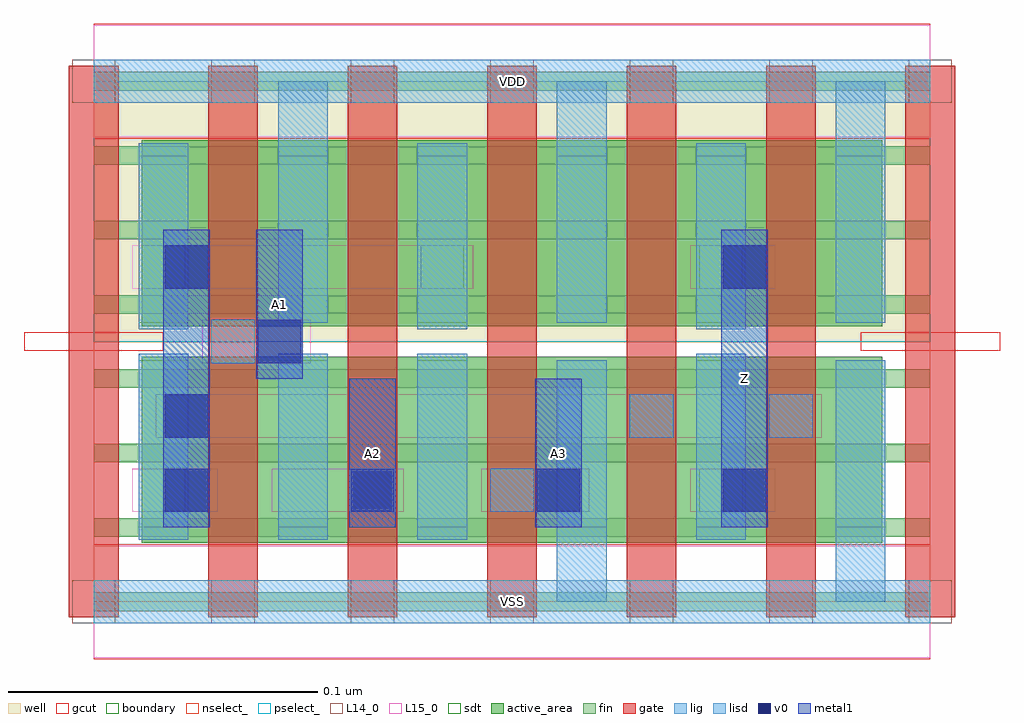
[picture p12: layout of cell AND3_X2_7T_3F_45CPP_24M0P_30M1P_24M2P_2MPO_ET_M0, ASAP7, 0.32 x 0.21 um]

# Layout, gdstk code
import gdstk
lib = gdstk.Library(unit=1e-6, precision=2.5e-10)
def R(c, l, rs):  # rectangles x0, y0, x1, y1
    for r in rs: c.add(gdstk.rectangle(r[:2], r[2:], *l))
def A(c, l, x, y, w, h, nx, ny, dx, dy):  # array of equal rectangles
    R(c, l, [(x+i*dx, y+j*dy, x+i*dx+w, y+j*dy+h) for i in range(nx) for j in range(ny)])
well = (1, 0)
fin = (2, 0)
gate = (7, 0)
gcut = (10, 0)
active_area = (11, 0)
nselect_ = (12, 0)
pselect_ = (13, 0)
L14_0 = (14, 0)
L15_0 = (15, 0)
lig = (16, 0)
lisd = (17, 0)
v0 = (18, 0)
metal1 = (19, 0)
sdt = (88, 0)
boundary = (100, 0)

and3_x2_7t_3f_45cpp_24m0 = lib.new_cell('AND3_X2_7T_3F_45CPP_24M0P_30M1P_24M2P_2MPO_ET_M0')
R(and3_x2_7t_3f_45cpp_24m0, well, [(0,0.084,0.27,0.168)])
A(and3_x2_7t_3f_45cpp_24m0, fin, 0, -0.003, 0.27, 0.006, 1, 8, 0, 0.024)
A(and3_x2_7t_3f_45cpp_24m0, gate, -0.008, -0.005, 0.016, 0.178, 7, 1, 0.045, 0)
R(and3_x2_7t_3f_45cpp_24m0, gcut, [(0,-0.0185,0.27,0.0185), (-0.0225,0.081,0.0225,0.087), (0.2475,0.081,0.2925,0.087), (0,0.1495,0.27,0.1865)])
A(and3_x2_7t_3f_45cpp_24m0, active_area, 0.0155, 0.019, 0.059, 0.06, 3, 2, 0.045, 0.07)
R(and3_x2_7t_3f_45cpp_24m0, active_area, [(0.1505,0.019,0.2545,0.079), (0.1505,0.089,0.2545,0.149)])
R(and3_x2_7t_3f_45cpp_24m0, nselect_, [(0,0,0.27,0.084)])
R(and3_x2_7t_3f_45cpp_24m0, pselect_, [(0,0.084,0.27,0.168)])
A(and3_x2_7t_3f_45cpp_24m0, L14_0, -0.007, -0.007, 0.014, 0.014, 7, 2, 0.045, 0.168)
A(and3_x2_7t_3f_45cpp_24m0, L14_0, 0.0155, 0.101, 0.014, 0.014, 3, 1, 0.09, 0)
R(and3_x2_7t_3f_45cpp_24m0, L14_0, [(0.0155,0.029,0.0295,0.043), (0.083,0.029,0.097,0.043), (0.128,0.029,0.142,0.043), (0.1955,0.029,0.2095,0.043), (0.173,0.053,0.187,0.067), (0.218,0.053,0.232,0.067), (0.038,0.077,0.052,0.091)])
R(and3_x2_7t_3f_45cpp_24m0, L15_0, [(0,-0.018,0.27,0.018), (0.0125,0.029,0.04,0.043), (0.0575,0.029,0.1,0.043), (0.125,0.029,0.16,0.043), (0.1925,0.029,0.22,0.043), (0.02,0.053,0.235,0.067), (0.035,0.077,0.07,0.091), (0.0125,0.101,0.1225,0.115), (0.1925,0.101,0.22,0.115), (0,0.15,0.27,0.186)])
R(and3_x2_7t_3f_45cpp_24m0, lig, [(0,-0.007,0.27,0.007), (0.083,0.029,0.097,0.043), (0.128,0.029,0.142,0.043), (0.173,0.053,0.187,0.067), (0.218,0.053,0.232,0.067), (0.038,0.077,0.052,0.091), (0,0.161,0.27,0.175)])
A(and3_x2_7t_3f_45cpp_24m0, lisd, 0.0145, 0.02, 0.016, 0.06, 3, 1, 0.045, 0)
A(and3_x2_7t_3f_45cpp_24m0, lisd, 0.0145, 0.088, 0.016, 0.06, 3, 1, 0.09, 0)
A(and3_x2_7t_3f_45cpp_24m0, lisd, 0.0595, 0.09, 0.016, 0.078, 3, 1, 0.09, 0)
R(and3_x2_7t_3f_45cpp_24m0, lisd, [(0.1495,0,0.1655,0.078), (0.2395,0,0.2555,0.078), (0.1945,0.02,0.2105,0.08)])
A(and3_x2_7t_3f_45cpp_24m0, v0, 0.023, 0.029, 0.014, 0.014, 4, 1, 0.06, 0)
R(and3_x2_7t_3f_45cpp_24m0, v0, [(0.023,0.053,0.037,0.067), (0.053,0.077,0.067,0.091), (0.023,0.101,0.037,0.115), (0.203,0.101,0.217,0.115)])
R(and3_x2_7t_3f_45cpp_24m0, metal1, [(0.0225,0.024,0.0375,0.12), (0.0825,0.024,0.0975,0.072), (0.1425,0.024,0.1575,0.072), (0.2025,0.024,0.2175,0.12), (0.0525,0.072,0.0675,0.12)])
A(and3_x2_7t_3f_45cpp_24m0, sdt, 0.0145, 0.024, 0.016, 0.054, 6, 2, 0.045, 0.066)
R(and3_x2_7t_3f_45cpp_24m0, boundary, [(0,0,0.27,0.168)])
and3_x2_7t_3f_45cpp_24m0.add(gdstk.Label('Z', (0.21,0.072), layer=19, texttype=251))
and3_x2_7t_3f_45cpp_24m0.add(gdstk.Label('A3', (0.15,0.048), layer=19, texttype=251))
and3_x2_7t_3f_45cpp_24m0.add(gdstk.Label('A1', (0.06,0.096), layer=19, texttype=251))
and3_x2_7t_3f_45cpp_24m0.add(gdstk.Label('A2', (0.09,0.048), layer=19, texttype=251))
and3_x2_7t_3f_45cpp_24m0.add(gdstk.Label('VDD', (0.135,0.168), layer=15, texttype=251))
and3_x2_7t_3f_45cpp_24m0.add(gdstk.Label('VSS', (0.135,0), layer=15, texttype=251))
and3_x2_7t_3f_45cpp_24m0.add(gdstk.Label('VDD', (0.135,0.168), layer=1, texttype=251))
and3_x2_7t_3f_45cpp_24m0.add(gdstk.Label('VSS', (0.135,0), layer=3, texttype=251))

lib.write_gds('AND3_X2_7T_3F_45CPP_24M0P_30M1P_24M2P_2MPO_ET_M0.gds')
